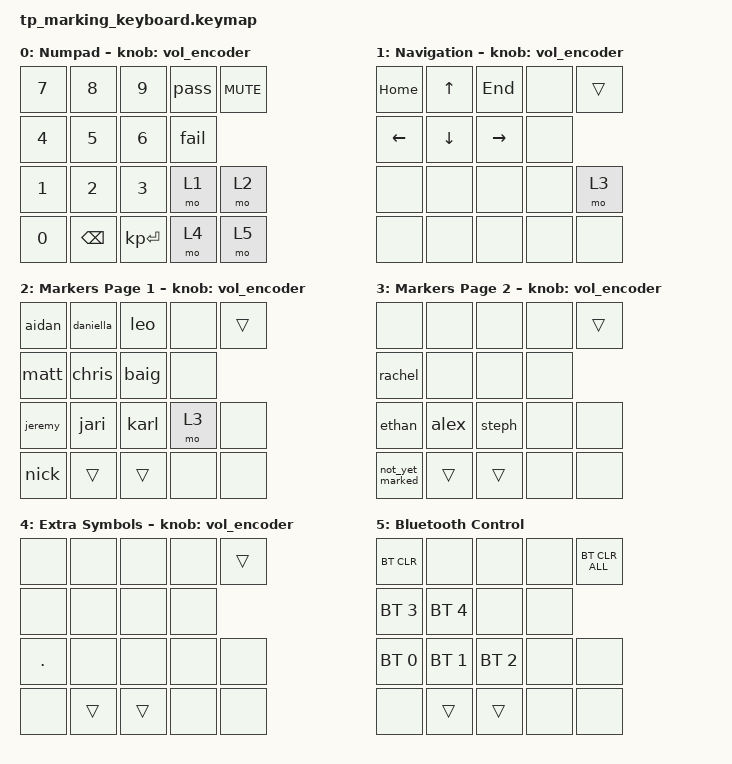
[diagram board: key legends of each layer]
#include <behaviors.dtsi>
#include <dt-bindings/zmk/keys.h>
#include <dt-bindings/zmk/bt.h>
#include <dt-bindings/zmk/outputs.h>

/ {
macros {
    pass: pass {
      compatible = "zmk,behavior-macro";
      label = "pass";
      #binding-cells = <0>;
      bindings = 
        <&kp LS(P)>,
        <&kp LS(A)>,
        <&kp LS(S)>,
        <&kp LS(S)>;
    };    

    fail: fail {
      compatible = "zmk,behavior-macro";
      label = "fail";
      #binding-cells = <0>;
      bindings = 
        <&kp LS(F)>,
        <&kp LS(A)>,
        <&kp LS(I)>,
        <&kp LS(L)>;
    };

    not_yet_marked: not_yet_marked {
      compatible = "zmk,behavior-macro";
      label = "not_yet_marked";
      #binding-cells = <0>;
      bindings = 
        <&kp LS(N)>, <&kp O>, <&kp T>, <&kp SPACE>,
        <&kp Y>, <&kp E>, <&kp T>, <&kp SPACE>,
        <&kp M>, <&kp A>, <&kp R>, <&kp K>, <&kp E>, <&kp D>;
    };

    nick: nick {
      compatible = "zmk,behavior-macro";
      label = "nick";
      #binding-cells = <0>;
      bindings = 
        <&kp LS(N)>,
        <&kp I>,
        <&kp C>,
        <&kp K>;
    };

    matt: matt {
      compatible = "zmk,behavior-macro";
      label = "matt";
      #binding-cells = <0>;
      bindings = 
        <&kp LS(M)>,
        <&kp A>,
        <&kp T>,
        <&kp T>;
    };

    jeremy: jeremy {
      compatible = "zmk,behavior-macro";
      label = "jeremy";
      #binding-cells = <0>;
      bindings = 
        <&kp LS(J)>,
        <&kp E>,
        <&kp R>,
        <&kp E>,
        <&kp M>,
        <&kp Y>;
    };

    jari: jari {
      compatible = "zmk,behavior-macro";
      label = "jari";
      #binding-cells = <0>;
      bindings = 
        <&kp LS(J)>,
        <&kp A>,
        <&kp R>,
        <&kp I>;
    };

    karl: karl {
      compatible = "zmk,behavior-macro";
      label = "karl";
      #binding-cells = <0>;
      bindings = 
        <&kp LS(K)>,
        <&kp A>,
        <&kp R>,
        <&kp L>;
    };

    daniella: daniella {
      compatible = "zmk,behavior-macro";
      label = "daniella";
      #binding-cells = <0>;
      bindings = 
        <&kp LS(D)>,
        <&kp A>,
        <&kp N>,
        <&kp I>,
        <&kp E>,
        <&kp L>,
        <&kp L>,
        <&kp A>;
    };

    chris: chris {
      compatible = "zmk,behavior-macro";
      label = "chris";
      #binding-cells = <0>;
      bindings = 
        <&kp LS(C)>,
        <&kp H>,
        <&kp R>,
        <&kp I>,
        <&kp S>;
    };

    ethan: ethan {
      compatible = "zmk,behavior-macro";
      label = "ethan";
      #binding-cells = <0>;
      bindings = 
        <&kp LS(E)>,
        <&kp T>,
        <&kp H>,
        <&kp A>,
        <&kp N>,
        <&kp SPACE>,
        <&kp N>;
    };

    leo: leo {
      compatible = "zmk,behavior-macro";
      label = "leo";
      #binding-cells = <0>;
      bindings = 
        <&kp LS(L)>,
        <&kp E>,
        <&kp O>;
    };

    alex: alex {
      compatible = "zmk,behavior-macro";
      label = "alex";
      #binding-cells = <0>;
      bindings = 
        <&kp LS(A)>,
        <&kp L>,
        <&kp E>,
        <&kp X>;
    };

    aidan: aidan {
      compatible = "zmk,behavior-macro";
      label = "aidan";
      #binding-cells = <0>;
      bindings = 
        <&kp LS(A)>,
        <&kp I>,
        <&kp D>,
        <&kp A>,
        <&kp N>;
    };

    baig: baig {
      compatible = "zmk,behavior-macro";
      label = "baig";
      #binding-cells = <0>;
      bindings = 
        <&kp LS(B)>,
        <&kp A>,
        <&kp I>,
        <&kp G>;
    };

    steph: steph {
      compatible = "zmk,behavior-macro";
      label = "steph";
      #binding-cells = <0>;
      bindings = 
        <&kp LS(S)>,
        <&kp T>,
        <&kp E>,
        <&kp P>,
        <&kp H>;
    };

    rachel: rachel {
      compatible = "zmk,behavior-macro";
      label = "rachel";
      #binding-cells = <0>;
      bindings = 
        <&kp LS(R)>,
        <&kp A>,
        <&kp C>,
        <&kp H>,
        <&kp E>,
        <&kp L>;
    };
  };
 
  behaviors {
    vol_encoder: vol_encoder {
      compatible = "zmk,behavior-sensor-rotate";
      #sensor-binding-cells = <0>;
      bindings = <&kp C_VOL_UP>, <&kp C_VOL_DN>;
    };
  };

  keymap {
    compatible = "zmk,keymap";

    default_layer {
      label = "Numpad";
      sensor-bindings = <&vol_encoder>;
      bindings = <
        &kp N7 &kp N8 &kp N9 &pass &kp C_MUTE
        &kp N4 &kp N5 &kp N6 &fail
        &kp N1 &kp N2 &kp N3 &mo 1 &mo 2
        &kp N0 &kp BACKSPACE &kp KP_ENTER &mo 4 &mo 5
      >;
    };
    
    layer_1 {
      label = "Navigation";
      sensor-bindings = <&vol_encoder>;
      bindings = <
        &kp HOME &kp UP &kp END &none &trans
        &kp LEFT &kp DOWN &kp RIGHT &none
        &none &none &none &none &mo 3
        &none &none &none &none &none
      >;
    };
    
    layer_2_1 {
      label = "Markers Page 1";
      sensor-bindings = <&vol_encoder>;
      bindings = <
        &aidan &daniella &leo &none &trans
        &matt &chris &baig &none
        &jeremy &jari &karl &mo 3 &none
        &nick &trans &trans &none &none
      >;
    };

    layer_2_2 {
      label = "Markers Page 2";
      sensor-bindings = <&vol_encoder>;
      bindings = <
        &none &none &none &none &trans
        &rachel &none &none &none
        &ethan &alex &steph &none &none
        &not_yet_marked &trans &trans &none &none
      >;
    };

    layer_4 {
      label = "Extra Symbols";
      sensor-bindings = <&vol_encoder>;
      bindings = <
        &none &none &none &none &trans
        &none &none &none &none
        &kp DOT &none &none &none &none
        &none &trans &trans &none &none
      >;
    };
    
    layer_5 {
      label = "Bluetooth Control";
      bindings = <
        &bt BT_CLR &none &none &none &bt BT_CLR_ALL
        &bt BT_SEL 3 &bt BT_SEL 4 &none &none
        &bt BT_SEL 0 &bt BT_SEL 1 &bt BT_SEL 2 &none &none
        &none &trans &trans &none &none
      >;
    };
  };
};

